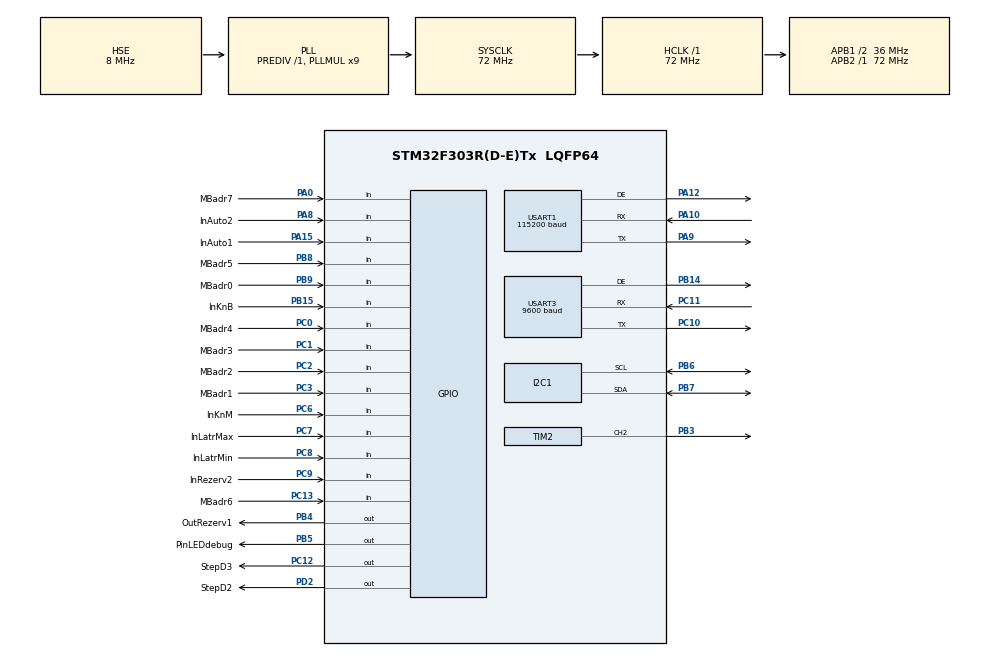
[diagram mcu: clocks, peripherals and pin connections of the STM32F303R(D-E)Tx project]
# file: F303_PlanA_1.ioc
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Mcu.Family=STM32F3
Mcu.Name=STM32F303R(D-E)Tx
Mcu.Package=LQFP64
NVIC.PriorityGroup=NVIC_PRIORITYGROUP_4
NVIC.TIM1_BRK_TIM15_IRQn=true\:0\:0\:false\:false\:true\:true\:true
NVIC.TIM1_TRG_COM_TIM17_IRQn=true\:0\:0\:false\:false\:true\:true\:true
NVIC.TIM1_UP_TIM16_IRQn=true\:0\:0\:false\:false\:true\:true\:true
NVIC.TIM2_IRQn=true\:0\:0\:false\:false\:true\:true\:true
NVIC.TIM3_IRQn=true\:0\:0\:false\:false\:true\:true\:true
NVIC.USART1_IRQn=true\:0\:0\:false\:false\:true\:true\:true
NVIC.USART3_IRQn=true\:0\:0\:false\:false\:true\:true\:true
PA0.GPIO_Label=MBadr7
PA0.GPIO_PuPd=GPIO_PULLUP
PA0.Signal=GPIO_Input
PA10.Mode=Asynchronous
PA10.Signal=USART1_RX
PA12.Mode=Hardware Flow Control (RS485)
PA12.Signal=USART1_DE
PA13.Mode=Serial_Wire
PA13.Signal=SYS_JTMS-SWDIO
PA14.Mode=Serial_Wire
PA14.Signal=SYS_JTCK-SWCLK
PA15.GPIO_Label=InAuto1
PA15.Signal=GPIO_Input
PA8.GPIO_Label=InAuto2
PA8.Signal=GPIO_Input
PA9.Mode=Asynchronous
PA9.Signal=USART1_TX
PB14.Mode=Hardware Flow Control (RS485)
PB14.Signal=USART3_DE
PB15.GPIO_Label=InKnB
PB15.Signal=GPIO_Input
PB3.GPIO_Speed=GPIO_SPEED_FREQ_HIGH
PB3.Signal=S_TIM2_CH2
PB4.GPIO_Label=OutRezerv1
PB4.Signal=GPIO_Output
PB5.GPIO_Label=PinLEDdebug
PB5.GPIO_ModeDefaultOutputPP=GPIO_MODE_OUTPUT_PP
PB5.Signal=GPIO_Output
PB6.GPIO_Pu=GPIO_PULLUP
PB6.Mode=I2C
PB6.Signal=I2C1_SCL
PB7.GPIO_Pu=GPIO_PULLUP
PB7.Mode=I2C
PB7.Signal=I2C1_SDA
PB8.GPIO_Label=MBadr5
PB8.GPIO_PuPd=GPIO_PULLUP
PB8.Signal=GPIO_Input
PB9.GPIO_Label=MBadr0
PB9.GPIO_PuPd=GPIO_PULLUP
PB9.Signal=GPIO_Input
PC0.GPIO_Label=MBadr4
PC0.GPIO_PuPd=GPIO_PULLUP
PC0.Signal=GPIO_Input
PC1.GPIO_Label=MBadr3
PC1.GPIO_PuPd=GPIO_PULLUP
PC1.Signal=GPIO_Input
PC10.Mode=Asynchronous
PC10.Signal=USART3_TX
PC11.Mode=Asynchronous
PC11.Signal=USART3_RX
PC12.GPIO_Label=StepD3
PC12.Signal=GPIO_Output
PC13.GPIO_Label=MBadr6
PC13.GPIO_PuPd=GPIO_PULLUP
PC13.Signal=GPIO_Input
PC2.GPIO_Label=MBadr2
PC2.GPIO_PuPd=GPIO_PULLUP
PC2.Signal=GPIO_Input
PC3.GPIO_Label=MBadr1
PC3.GPIO_PuPd=GPIO_PULLUP
PC3.Signal=GPIO_Input
PC6.GPIO_Label=InKnM
PC6.Signal=GPIO_Input
PC7.GPIO_Label=InLatrMax
PC7.Signal=GPIO_Input
PC8.GPIO_Label=InLatrMin
PC8.Signal=GPIO_Input
PC9.GPIO_Label=InRezerv2
PC9.Signal=GPIO_Input
PD2.GPIO_Label=StepD2
PD2.Signal=GPIO_Output
PF0-OSC_IN.Mode=HSE-External-Oscillator
PF0-OSC_IN.Signal=RCC_OSC_IN
PF1-OSC_OUT.Mode=HSE-External-Oscillator
PF1-OSC_OUT.Signal=RCC_OSC_OUT
ProjectManager.HeapSize=0x200
ProjectManager.StackSize=0x400
ProjectManager.TargetToolchain=STM32CubeIDE
RCC.ADC12PRES=RCC_ADC12PLLCLK_DIV16
RCC.ADC34PRES=RCC_ADC34PLLCLK_DIV16
RCC.AHBFreq_Value=72000000
RCC.APB1CLKDivider=RCC_HCLK_DIV2
RCC.APB1Freq_Value=36000000
RCC.APB1TimFreq_Value=72000000
RCC.APB2Freq_Value=72000000
RCC.APB2TimFreq_Value=72000000
RCC.CortexFreq_Value=72000000
RCC.HCLKFreq_Value=72000000
RCC.HSE_VALUE=8000000
RCC.HSI_VALUE=8000000
RCC.LSE_VALUE=32.77
RCC.PLLMUL=RCC_PLL_MUL9
RCC.PLLSourceVirtual=RCC_PLLSOURCE_HSE
RCC.SYSCLKFreq_VALUE=72000000
RCC.SYSCLKSourceVirtual=RCC_SYSCLKSOURCE_PLLCLK
RCC.USBFreq_Value=72000000
SH.S_TIM2_CH2.0=TIM2_CH2,PWM Generation2 CH2
TIM1.Period=53
TIM1.Prescaler=99
TIM2.AutoReloadPreload=TIM_AUTORELOAD_PRELOAD_ENABLE
TIM2.Channel-PWM\ Generation2\ CH2=TIM_CHANNEL_2
TIM2.OCPolarity_2=TIM_OCPOLARITY_LOW
TIM2.Period=169
TIM2.Prescaler=719
TIM2.Pulse-PWM\ Generation2\ CH2=79
TIM3.Period=999
TIM3.Prescaler=719
USART1.BaudRate=115200
USART1.VirtualMode-Asynchronous=VM_ASYNC
USART1.VirtualMode-Hardware\ Flow\ Control\ (RS485)=VM_ASYNC
USART3.BaudRate=9600
USART3.VirtualMode-Asynchronous=VM_ASYNC
USART3.VirtualMode-Hardware\ Flow\ Control\ (RS485)=VM_ASYNC
VP_TIM1_VS_ClockSourceINT.Mode=Internal
VP_TIM2_VS_ClockSourceINT.Mode=Internal
VP_TIM3_VS_ClockSourceINT.Mode=Internal
board=custom

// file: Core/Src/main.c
/* USER CODE BEGIN Header */
/**
  ******************************************************************************
  * @file           : main.c
  * @brief          : Main program body
  ******************************************************************************
  * @attention
  *
  * <h2><center>&copy; Copyright (c) 2021 STMicroelectronics.
  * All rights reserved.</center></h2>
  *
  * This software component is licensed by ST under BSD 3-Clause license,
  * the "License"; You may not use this file except in compliance with the
  * License. You may obtain a copy of the License at:
  *                        opensource.org/licenses/BSD-3-Clause
  *
  ******************************************************************************
  */
/* USER CODE END Header */
#include "main.h"

/* USER CODE BEGIN Includes */
#include "stdio.h"
#include "string.h"
#include "math.h"
#include "fastmath.h"
#include "MB_veribl_my.h"

/* USER CODE END Includes */

I2C_HandleTypeDef hi2c1;

TIM_HandleTypeDef htim1;
TIM_HandleTypeDef htim2;
TIM_HandleTypeDef htim3;

UART_HandleTypeDef huart1;
UART_HandleTypeDef huart3;

/* USER CODE BEGIN PV */
//********************************* МО�? ПЕРЕМЕННЫЕ *********************************
////////......................... для измерений .........................////////
volatile uint16_t adc_A[200]={0,};              //переменная для хранения данных с АЦП
volatile uint16_t adc_B[200]={0,};              //переменная для хранения данных с АЦП
volatile uint16_t adc_C[200]={0,};              //переменная для хранения данных с АЦП
uint32_t izm2period=147;						//кол-во измерений за период 50Гц
uint32_t dacOporn=90;							//опорное напряжение*2 (в у.е.) для ТТ

////////.................... МОДбус ...MB_veribl_my.h......////////

////////... МОДбус для китайского Ваттметра...MB_veribl_my.h...////////

//-------------------------- тестовая хрень --------------------------
uint8_t TESTmassiv[50]={0,};                    //вывод отладочной инфы в УАРТ
uint16_t flagTest1=0;
uint8_t flagTest2=0;
//-------------------------- прочее --------------------------
union {
  float    vtosh; //VTOSH    vtosh0.vtosh
  struct {
    uint8_t   byte1,
              byte2,
              byte3,
              byte4;
  };
} vtosh0;

union {
  float    zadan_v; //ZADAN_V    zadan_v0.zadan_v
  struct {
    uint8_t   byte1,
              byte2,
              byte3,
              byte4;
  };
} zadan_v0;

union {
  float    tekysheeU; //ZADAN_V    tekysheeNapr.tekysheeU
  struct {
    uint8_t   byte1,
              byte2,
              byte3,
              byte4;
  };
} tekysheeNapr;

union {
  float    min_v; //MIN_V    volt0.min_v
  struct {
    uint8_t   byte1,
              byte2,
              byte3,
              byte4;
  };
} volt0;

union {
  float    max_v; //MAX_V    volt1.max_v
  struct {
    uint8_t   byte1,
              byte2,
              byte3,
              byte4;
  };
} volt1;

uint16_t timUzapis=0;
uint16_t provSvyazCount=0,
		 provSvyazCount2=0;
float	zadanMin=10.0,
		provSvyaz=0.0,
		zadan_vZash=0.0,
		zadan_v001p=0.0,
		zadan_v001m=0.0,
		zadan_v005p=0.0,
		zadan_v005m=0.0;
_Bool errGPM=0;

/* USER CODE END PV */

void SystemClock_Config(void);
static void MX_GPIO_Init(void);
static void MX_USART1_UART_Init(void);
static void MX_TIM1_Init(void);
static void MX_USART3_UART_Init(void);
static void MX_I2C1_Init(void);
static void MX_TIM2_Init(void);
static void MX_TIM3_Init(void);
/* USER CODE BEGIN PFP */

unsigned int Crc16Table[256] = {
/*
  Name  : CRC-16
  Poly  : 0x8005    x^16 + x^15 + x^2 + 1
  Init  : 0xFFFF
  Revert: true
  XorOut: 0x0000
  Check : 0x4B37 ("123456789")
  MaxLen: 4095 байт (32767 бит) - обнаружение одинарных, двойных, тройных и всех нечетных ошибок
*/
    0x0000, 0xC0C1, 0xC181, 0x0140, 0xC301, 0x03C0, 0x0280, 0xC241,
    0xC601, 0x06C0, 0x0780, 0xC741, 0x0500, 0xC5C1, 0xC481, 0x0440,
    0xCC01, 0x0CC0, 0x0D80, 0xCD41, 0x0F00, 0xCFC1, 0xCE81, 0x0E40,
    0x0A00, 0xCAC1, 0xCB81, 0x0B40, 0xC901, 0x09C0, 0x0880, 0xC841,
    0xD801, 0x18C0, 0x1980, 0xD941, 0x1B00, 0xDBC1, 0xDA81, 0x1A40,
    0x1E00, 0xDEC1, 0xDF81, 0x1F40, 0xDD01, 0x1DC0, 0x1C80, 0xDC41,
    0x1400, 0xD4C1, 0xD581, 0x1540, 0xD701, 0x17C0, 0x1680, 0xD641,
    0xD201, 0x12C0, 0x1380, 0xD341, 0x1100, 0xD1C1, 0xD081, 0x1040,
    0xF001, 0x30C0, 0x3180, 0xF141, 0x3300, 0xF3C1, 0xF281, 0x3240,
    0x3600, 0xF6C1, 0xF781, 0x3740, 0xF501, 0x35C0, 0x3480, 0xF441,
    0x3C00, 0xFCC1, 0xFD81, 0x3D40, 0xFF01, 0x3FC0, 0x3E80, 0xFE41,
    0xFA01, 0x3AC0, 0x3B80, 0xFB41, 0x3900, 0xF9C1, 0xF881, 0x3840,
    0x2800, 0xE8C1, 0xE981, 0x2940, 0xEB01, 0x2BC0, 0x2A80, 0xEA41,
    0xEE01, 0x2EC0, 0x2F80, 0xEF41, 0x2D00, 0xEDC1, 0xEC81, 0x2C40,
    0xE401, 0x24C0, 0x2580, 0xE541, 0x2700, 0xE7C1, 0xE681, 0x2640,
    0x2200, 0xE2C1, 0xE381, 0x2340, 0xE101, 0x21C0, 0x2080, 0xE041,
    0xA001, 0x60C0, 0x6180, 0xA141, 0x6300, 0xA3C1, 0xA281, 0x6240,
    0x6600, 0xA6C1, 0xA781, 0x6740, 0xA501, 0x65C0, 0x6480, 0xA441,
    0x6C00, 0xACC1, 0xAD81, 0x6D40, 0xAF01, 0x6FC0, 0x6E80, 0xAE41,
    0xAA01, 0x6AC0, 0x6B80, 0xAB41, 0x6900, 0xA9C1, 0xA881, 0x6840,
    0x7800, 0xB8C1, 0xB981, 0x7940, 0xBB01, 0x7BC0, 0x7A80, 0xBA41,
    0xBE01, 0x7EC0, 0x7F80, 0xBF41, 0x7D00, 0xBDC1, 0xBC81, 0x7C40,
    0xB401, 0x74C0, 0x7580, 0xB541, 0x7700, 0xB7C1, 0xB681, 0x7640,
    0x7200, 0xB2C1, 0xB381, 0x7340, 0xB101, 0x71C0, 0x7080, 0xB041,
    0x5000, 0x90C1, 0x9181, 0x5140, 0x9301, 0x53C0, 0x5280, 0x9241,
    0x9601, 0x56C0, 0x5780, 0x9741, 0x5500, 0x95C1, 0x9481, 0x5440,
    0x9C01, 0x5CC0, 0x5D80, 0x9D41, 0x5F00, 0x9FC1, 0x9E81, 0x5E40,
    0x5A00, 0x9AC1, 0x9B81, 0x5B40, 0x9901, 0x59C0, 0x5880, 0x9841,
    0x8801, 0x48C0, 0x4980, 0x8941, 0x4B00, 0x8BC1, 0x8A81, 0x4A40,
    0x4E00, 0x8EC1, 0x8F81, 0x4F40, 0x8D01, 0x4DC0, 0x4C80, 0x8C41,
    0x4400, 0x84C1, 0x8581, 0x4540, 0x8701, 0x47C0, 0x4680, 0x8641,
    0x8201, 0x42C0, 0x4380, 0x8341, 0x4100, 0x81C1, 0x8081, 0x4040};

unsigned int Crc16(unsigned char *pcBlock, unsigned int len){
    unsigned int crc = 0xFFFF;
    while (len--) crc = (crc >> 8) ^ Crc16Table[(crc & 0xFF) ^ *pcBlock++];
    return crc;
    }

void IDmyMB (void){
	mb_data[MY_ID]=0;

	mb_data[MY_ID]=(~( 0xff00 |
//									7							6						5							4
						((GPIOB->IDR&(1<<8))>>1)|((GPIOB->IDR&(1<<9))>>3)|((GPIOC->IDR&(1<<13))>>8)|((GPIOC->IDR&(1<<0))<<4)|
//									3							2						1							0
						((GPIOC->IDR&(1<<1))<<2)|((GPIOC->IDR&(1<<2))<<0)|((GPIOC->IDR&(1<<3))>>2)|((GPIOA->IDR&(1<<0))<<0) ) );
}

/* USER CODE END PFP */

/* USER CODE BEGIN 0 */

//................. Таймерs
void HAL_TIM_PeriodElapsedCallback(TIM_HandleTypeDef *htim){

	if(htim->Instance==TIM1){		// каждые 0,075мс
		MB_counT35++;  //до ~23 (1,75)
		MB3_counT35++;  //до ~23 (1,75)
		MB3_count_Tx++; //счётчик периода запроса
		provSvyazCount2++;
	} //end каждые 0,075мс

	if(htim->Instance==TIM3){		// каждые 10 мс
		timUzapis++;					// время измерения напряжения
		//HAL_GPIO_TogglePin(GPIOB, OutRezerv1_Pin);	// мигание кнопок М и Б
		//if (flagTest1++>=2000) {flagTest1=0;}		//времянка
		//////////////////  СиГНАЛиЗАТОР  /////////////////////////////////////
		#define SIGNAL1 14
		#define SIGNAL2 100
		if (signal_0) {			//сигнализировать "Отмена" или "Отключить"
			if      ( (out_Sign_count1>0) && (out_Sign_count1<=SIGNAL1) ) {GPIOB->ODR|=(1<<4);}		// л1
			else if ( (out_Sign_count1>SIGNAL1) && (out_Sign_count1<=SIGNAL2) ) {GPIOB->ODR&=~(1<<4);}	// л0
			else if ( (out_Sign_count1>SIGNAL2) && (out_Sign_count1<=(SIGNAL1+SIGNAL2)) ) {GPIOB->ODR|=(1<<4);}	// л1
			else if (out_Sign_count1>(SIGNAL1+SIGNAL2)) {GPIOB->ODR&=~(1<<4); signal_0=0;}				// л0
			out_Sign_count1++;
		}
		//else {out_Sign_count1=0;}
		else if (signal_1) {			//сигнализировать "Принять" или "Включить"
			if      ( (out_Sign_count1>0) && (out_Sign_count1<=SIGNAL1) ) {GPIOB->ODR|=(1<<4);}		// л1
			else if ( (out_Sign_count1>SIGNAL1) && (out_Sign_count1<=SIGNAL2) ) {GPIOB->ODR&=~(1<<4);}	// л0
			else if ( (out_Sign_count1>SIGNAL2) && (out_Sign_count1<=(2*SIGNAL2)) ) {GPIOB->ODR|=(1<<4);}	// л1
			else if (out_Sign_count1>(2*SIGNAL2)) {GPIOB->ODR&=~(1<<4); signal_1=0;}				// л0
			out_Sign_count1++;
		}
		else {out_Sign_count1=0;}

		//////////////////  ФиЛЬТР  длительность ~5 мкс /////////////////////////////////////
		//GPIOB->ODR |=(1<<5);
		if ( (!(GPIOA->IDR & (1<<15)))^(mb_data[IN_IST] & (1<<IN_AVTO2)) )	//Режим Авто-2
			{In_Auto1_count++;}
		else {In_Auto1_count=0;}
		if ( (!(GPIOA->IDR & (1<<8)))^(mb_data[IN_IST] & (1<<IN_AVTO1)) )	//Режим Авто-1
			{In_Auto2_count++;}
		else {In_Auto2_count=0;}
		if ( (!(GPIOC->IDR & (1<<9)))^(mb_data[IN_IST] & (1<<IN_AUTO_NOM)) )
			{In_Rezerv_count++;}
		else {In_Rezerv_count=0;}
		if ( (GPIOC->IDR & (1<<8)) ^ (mb_data[IN_IST] & (1<<IN_ATR_MIN)) )	//Конечник Мин
			{In_ATRmin_count++;}
		else {In_ATRmin_count=0;}
		if ( (GPIOC->IDR & (1<<7)) ^ (mb_data[IN_IST] & (1<<IN_ATR_MAX)) )	//Конечник Макс
			{In_ATRmax_count++;}
		else {In_ATRmax_count=0;}
		if ( (!(GPIOC->IDR & (1<<6)))^(mb_data[IN_IST] & (1<<IN_KN_MEN)) )	//Кн Меньше
			{In_KnMen_count++;}
		else {In_KnMen_count=0;}
		if ( (!(GPIOB->IDR & (1<<15)))^(mb_data[IN_IST] & (1<<IN_KN_BOL)) )	//Кн Больше
			{In_KnBol_count++;}
		else {In_KnBol_count=0;}

		////////////////// Прошедшие ФиЛЬТР /////////////////////////////////////
		if (In_Auto1_count>=In_count){   In_Auto1_count=0;
			if (GPIOA->IDR & (1<<15))	{mb_data[IN_IST] &=~ (1<<IN_AVTO2);}
			else						{mb_data[IN_IST] |= (1<<IN_AVTO2);}
		}
		if (In_Auto2_count>=In_count){   In_Auto2_count=0;
			if (GPIOA->IDR & (1<<8))	{mb_data[IN_IST] &=~ (1<<IN_AVTO1);}
			else						{mb_data[IN_IST] |= (1<<IN_AVTO1);}
		}
		if (In_Rezerv_count>=In_count){   In_Rezerv_count=0;
			if (GPIOC->IDR & (1<<9))	{mb_data[IN_IST] &=~ (1<<IN_AUTO_NOM);}
			else						{mb_data[IN_IST] |= (1<<IN_AUTO_NOM);}
		}
		if (In_ATRmin_count>=In_count){   In_ATRmin_count=0;
			if (GPIOC->IDR & (1<<8))	{mb_data[IN_IST] |= (1<<IN_ATR_MIN);}
			else						{mb_data[IN_IST] &=~ (1<<IN_ATR_MIN);}
		}
		if (In_ATRmax_count>=In_count){   In_ATRmax_count=0;
			if (GPIOC->IDR & (1<<7))	{mb_data[IN_IST] |= (1<<IN_ATR_MAX);}
			else						{mb_data[IN_IST] &=~ (1<<IN_ATR_MAX);}
		}
		if (In_KnMen_count>=In_count){   In_KnMen_count=0;
			if (GPIOC->IDR & (1<<6))	{mb_data[IN_IST] &=~ (1<<IN_KN_MEN);}
			else						{mb_data[IN_IST] |= (1<<IN_KN_MEN);}
		}
		if (In_KnBol_count>=In_count){   In_KnBol_count=0;
			if (GPIOB->IDR & (1<<15))	{mb_data[IN_IST] &=~ (1<<IN_KN_BOL);}
			else						{mb_data[IN_IST] |= (1<<IN_KN_BOL);}
		}

		//////////////////////////////////// СПЕЦ-НАЖАТиЯ /////////////////////////////////////
		if ( (mb_data[IN_IST] & (1<<IN_KN_MEN)) && (mb_data[IN_IST] & (1<<IN_KN_BOL)) )	// М+Б
			{In_KnMpB_count++;}
		else {In_KnMpB_count=0;}
		if (In_KnMpB_count>=In_count2) {mb_data[IN_IST] |= (1<<IN_KN_MPB);
			In_KnMpB_count=0;
			signal_1=1;
		}

		if ( (mb_data[IN_IST] & (1<<IN_KN_MEN)) && !(mb_data[IN_IST] & (1<<IN_KN_BOL)) ) {In_KnMMMen_count++;}	// М (долгое)
		else {In_KnMMMen_count=0;}
		if (In_KnMMMen_count>=In_count2) {mb_data[IN_IST] |= (1<<IN_KN_MMMEN);In_KnMMMen_count=0;}

		if ( !(mb_data[IN_IST] & (1<<IN_KN_MEN)) && (mb_data[IN_IST] & (1<<IN_KN_BOL)) ) {In_KnBBBol_count++;}	// Б (долгое)
		else {In_KnBBBol_count=0;}
		if (In_KnBBBol_count>=In_count2) {mb_data[IN_IST] |= (1<<IN_KN_BBBOL);In_KnBBBol_count=0;}

		//GPIOB->ODR &=~ (1<<5); GPIOB->ODR |= (1<<5);
	}//end каждые 10 мс
}

//................. Таймер на ШиМ
void HAL_TIM_PWM_PulseFinishedCallback(TIM_HandleTypeDef *htim){
	if(htim->Instance==TIM2){
		if (mb_data[OUT_IST]&(1<<OUT_ED_NAPR))	{mb_data[ATR_POL_OTN]++; atr_pol_abs++;}
		else 									{mb_data[ATR_POL_OTN]--; atr_pol_abs--;}
		mb_data[ATR_POL_ABS] = atr_pol_abs;
		//if (mb_data[IN_IST]&(1<<IN_ATR_MIN))		{mb_data[ATR_POL_ABS]=0;}
		//Delitel_count++;
		//HAL_GPIO_TogglePin(GPIOB, PinLEDdebug_Pin);
	}
}

/*
void HAL_ADC_ConvCpltCallback(ADC_HandleTypeDef* hadc1){
	//HAL_GPIO_TogglePin(GPIOB, PinLEDdebug_Pin);
	if(hadc1->Instance == ADC1) {;
	 }
}
*/

void HAL_UART_TxCpltCallback(UART_HandleTypeDef *huart){
	if(huart==&huart1){;}
	if(huart==&huart3){;}
}

void HAL_UART_RxCpltCallback(UART_HandleTypeDef *huart) {
	if(huart==&huart1){
		HAL_UART_Receive_IT(&huart1, (uint8_t*)MB_preBUFF, rxPac); //запуск следующего приёма
		MB_BUFF[MB_buffCount++]=MB_preBUFF[0];   //сохраняем полученый байт в буфер
		MB_counT35=0;  //до ~23..24 (1,75)
		MB_MyPac_OK=0;
	}
	if(huart==&huart3){
		//HAL_UART_Receive_IT(&huart3, (uint8_t*)MB3_preBUFF, 25); //запуск следующего приёма
		//MB3_BUFF[MB3_buffCount++]=MB3_preBUFF[0];   //сохраняем полученый байт в буфер
		//mb_data[21]=( (MB3_preBUFF[3]<<8)|(MB3_preBUFF[4]) );
		//MB3_counT35=0;  //до ~23..24 (1,75)
		MB3_MyPac_OK=0;
	}
}

/* USER CODE END 0 */

int main(void)
{

  /* MCU Configuration--------------------------------------------------------*/

  /* Reset of all peripherals, Initializes the Flash interface and the Systick. */
  HAL_Init();

  /* Configure the system clock */
  SystemClock_Config();

  /* Initialize all configured peripherals */
  MX_GPIO_Init();
  MX_USART1_UART_Init();
  MX_TIM1_Init();
  MX_USART3_UART_Init();
  MX_I2C1_Init();
  MX_TIM2_Init();
  MX_TIM3_Init();
  /* USER CODE BEGIN 2 */
//***************************************************** Мой СЕТУП! СТАРТ *******
  //HAL_OPAMP_SelfCalibrate(&hopamp1); HAL_Delay(30);
  //HAL_OPAMP_SelfCalibrate(&hopamp2); HAL_Delay(30);
  //HAL_OPAMP_SelfCalibrate(&hopamp3); HAL_Delay(30);
  //HAL_OPAMP_SelfCalibrate(&hopamp4); HAL_Delay(30);
  //HAL_ADCEx_Calibration_Start(&hadc1,ADC_SINGLE_ENDED); HAL_Delay(30);
  //HAL_ADCEx_Calibration_Start(&hadc2,ADC_SINGLE_ENDED); HAL_Delay(30);
  //HAL_ADCEx_Calibration_Start(&hadc3,ADC_SINGLE_ENDED); HAL_Delay(30);
//............ Запуск ЦАП (на схеме стоит делитель 1/2 !)
  //HAL_DAC_Start(&hdac1, DAC_CHANNEL_1); HAL_Delay(100);
  //HAL_DAC_SetValue(&hdac1, DAC_CHANNEL_1, DAC_ALIGN_12B_R, dacOporn); HAL_Delay(100);

  //HAL_OPAMP_Start(&hopamp1);
  //HAL_OPAMP_Start(&hopamp2);
  //HAL_OPAMP_Start(&hopamp3);
  //HAL_OPAMP_Start(&hopamp4); HAL_Delay(100);
//............ Запуск преобразования с передачей по DMA
  //HAL_ADC_Start_DMA(&hadc1, (uint32_t*)&adc_A, izm2period);
  //HAL_ADC_Start_DMA(&hadc2, (uint32_t*)&adc_B, izm2period);
  //HAL_ADC_Start_DMA(&hadc3, (uint32_t*)&adc_C, izm2period);

  //............ Запуск таймера
  HAL_TIM_PWM_Start_IT(&htim2, TIM_CHANNEL_2);
  HAL_TIM_Base_Start_IT(&htim1);
  HAL_TIM_Base_Start_IT(&htim3);
  //HAL_TIM_Base_Start_IT(&htim2);

  //HAL_TIM_OC_Start_IT(&htim17, TIM_CHANNEL_1);
  //HAL_TIM_Base_Start_IT(&htim17);

//***************************************************** Мой СЕТУП! СТОП *******
  /* USER CODE END 2 */

  /* Infinite loop */
  /* USER CODE BEGIN WHILE */
/////////////////////// Запускаем ожидание приёма по УАРТ
  HAL_UART_Receive_IT(&huart1, (uint8_t*)MB_preBUFF, rxPac);
  HAL_UART_Receive_IT(&huart3, (uint8_t*)MB3_preBUFF, rx3Pac);

//............ Уставки по умолчанию ...MB_veribl_my.h...
  mb_data[0]=0x11;  //времяночка
  mb_data[21]=21; mb_data[22]=22; mb_data[23]=23;
  rxPac=1;
  mb_data[55]=719;
  count_stepHome=0;
  mb_data[ATR_FSTP_HD]=8150; //шагов от 0 до 450 В
HAL_Delay(1000);
IDmyMB ();  //считывание ID для MB со свичей
/*************************************************************************/
/***************************** П О Г Н А Л и *****************************/
/*************************************************************************/
  while (1){

//********************** Применение ПАКЕТА **********************//
	//if (mb_data[20]&(1<<0)) {HAL_GPIO_WritePin(GPIOB, PinLEDdebug_Pin, GPIO_PIN_SET);}
	//                   else {HAL_GPIO_WritePin(GPIOB, PinLEDdebug_Pin, GPIO_PIN_RESET);}
	//htim2.Instance->PSC = mb_data[55]; //
	//if (flagTest1+169<=2000)
		//htim2.Instance->ARR = (169+flagTest1);
		//htim2.Instance->ARR

//********************** Мигание Б и М **********************//
	//if ( (Delitel_count>=10)&(GPIOB->ODR&(1<<3)) )      {GPIOB->ODR|=(1<<4);}
	//else if( (Delitel_count>=10)&!(GPIOB->ODR&(1<<3)) ) {Delitel_count=0; GPIOB->ODR&=~(1<<4);}

//********************** АВТО-1 и АВТО-2 **********************//
//*************************************************************//
uint16_t viderjka1=300;
	  // Авто-1. Работа АТР по уставкам от ПО с отслеживанием просадки U
	if ( (mb_data[IN_IST]&(1<<IN_AVTO1)) && !(mb_data[IN_IST]&(1<<IN_AVTO2)) ){
		//GPIOB->ODR|=(1<<5);
		//********************** Функции долгих нажатий (долгое М или Б) **********************//
		if (mb_data[IN_IST] & (1<<IN_KN_MMMEN)) {mb_data[IN_IST]&=~(1<<IN_KN_MMMEN);}	//не назначено
		if (mb_data[IN_IST] & (1<<IN_KN_BBBOL)) {mb_data[IN_IST]&=~(1<<IN_KN_BBBOL);}	//не назначено
		//********************** Нахождение МиН и МАКС (долгое М+Б) **********************//
		if ((mb_data[IN_IST]&(1<<IN_AUTO_HOM)) || (mb_data[IN_IST]&(1<<IN_KN_MPB))) {
			if (count_stepHome==0) {
				if (!(mb_data[IN_IST]&(1<<IN_ATR_MIN)))	{mb_data[IN_IST]|=(1<<IN_AUTO_MEN);
														 mb_data[IN_IST]&=~(1<<IN_AUTO_BOL);}
				else									{mb_data[IN_IST]&=~(1<<IN_AUTO_MEN);
														 mb_data[IN_IST]&=~(1<<IN_AUTO_BOL);
														 mb_data[ATR_POL_OTN]=0; timUzapis=0;
														 count_stepHome=1;} //Положение относительно (0В)
			}
			if ( (count_stepHome==1)&&(timUzapis<=viderjka1) ) { //сохранение Umin viderjka1-3секунды для устаканивания значниея U
				mb_data[ATR_MIN_V_H]=mb_data[GPM_V_H]; mb_data[ATR_MIN_V_L]=mb_data[GPM_V_L];}
			if ( (count_stepHome==1)&&(timUzapis>viderjka1) ) {
				count_stepHome=2; timUzapis=0;}
			if (count_stepHome==2) {
				if (!(mb_data[IN_IST]&(1<<IN_ATR_MAX)))	{mb_data[IN_IST]&=~(1<<IN_AUTO_MEN);
														 mb_data[IN_IST]|=(1<<IN_AUTO_BOL);}
				else 									{mb_data[IN_IST]&=~(1<<IN_AUTO_MEN);
														 mb_data[IN_IST]&=~(1<<IN_AUTO_BOL);
														 mb_data[ATR_FSTP]=mb_data[ATR_POL_OTN]; //Полное кол-во шагов (при 450В)
														 timUzapis=0; count_stepHome=3;
				}
			}
			if ( (count_stepHome==3)&&(timUzapis<=viderjka1) ) { //сохранение Umin
				mb_data[ATR_MAX_V_H]=mb_data[GPM_V_H]; mb_data[ATR_MAX_V_L]=mb_data[GPM_V_L];}
			if ( (count_stepHome==3)&&(timUzapis>viderjka1) ) {
				count_stepHome=4; timUzapis=0;}
			if (count_stepHome==4) {mb_data[IN_IST]&=~(1<<IN_AUTO_HOM); mb_data[IN_IST]&=~(1<<IN_KN_MPB);}
		}//end Нахождение МиН и МАКС

		//********************** ДВиЖЕНиЯ по уставкам ШАГАМ **********************//
		/*if ( (mb_data[ATR_FSTP]) && (mb_data[ATR_ZADAN_SH]) &&						//если определены МиН/МАКС и есть уставка
				((mb_data[IN_IST]&(1<<IN_AUTO_HOM))||(mb_data[OUT_IST]&(1<<OUT_SLEJEN))) )	//если ищем Дом или Следим за U
		{
			if (mb_data[ATR_ZADAN_SH] > (mb_data[ATR_POL_OTN])){		//если задание БОЛЬШЕ текущго состояния
				mb_data[IN_IST] |= (1<<IN_AUTO_BOL);
				mb_data[IN_IST] &=~ (1<<IN_AUTO_MEN);
			}
			else if (mb_data[ATR_ZADAN_SH] < (mb_data[ATR_POL_OTN])) {	//если задание МЕНЬШЕ текущго состояния
				mb_data[IN_IST] &=~ (1<<IN_AUTO_BOL);
				mb_data[IN_IST] |= (1<<IN_AUTO_MEN);
			}
			else {
				mb_data[IN_IST] &=~ (1<<IN_AUTO_BOL);					//иначе ОСТАНОВ
				mb_data[IN_IST] &=~ (1<<IN_AUTO_MEN);
			}
		}//end ДВиЖЕНиЯ по уставкам
		*/
		//********************** ДВиЖЕНиЯ по уставкам НАПРЯЖЕНиЮ  **********************//
		//if ( tekysheeNapr.tekysheeU && zadan_v0.zadan_v &&						//если определены МиН/МАКС и есть уставка
		if ( !errGPM &&  //(mb_data[IN_IST]&(1<<IN_AUTO_NOM))						//если ищем Дом
				( (mb_data[OUT_IST]&(1<<OUT_SLEJEN)) || (mb_data[KOM_IST]&(1<<KOM_SLEJEN)) ) && //или Следим за U
				( (tekysheeNapr.tekysheeU > zadanMin) && (zadan_v0.zadan_v > zadanMin) ) )	// и если Уставка не ниже минимальной!
		{
			if (tekysheeNapr.tekysheeU < zadan_v005m) {		//если текущее U МЕНЬШЕ заданного
				mb_data[IN_IST] |= (1<<IN_AUTO_BOL);			//zadan_v001p
				mb_data[IN_IST] &=~ (1<<IN_AUTO_MEN);
				htim2.Instance->ARR = 169;//настройки скорости
			}
			else if ( (tekysheeNapr.tekysheeU >= zadan_v005m) &&
					  (tekysheeNapr.tekysheeU <= zadan_v001m) ) {		//если текущее U МЕНЬШЕ заданного
				mb_data[IN_IST] |= (1<<IN_AUTO_BOL);			//zadan_v001p
				mb_data[IN_IST] &=~ (1<<IN_AUTO_MEN);
				htim2.Instance->ARR = 1699;//настройки скорости
			}
			else if (tekysheeNapr.tekysheeU > zadan_v005p) {	//если текущее U больше заданного
				mb_data[IN_IST] &=~ (1<<IN_AUTO_BOL);
				mb_data[IN_IST] |= (1<<IN_AUTO_MEN);
				htim2.Instance->ARR = 169;//настройки скорости
			}
			else if ( (tekysheeNapr.tekysheeU <= zadan_v005p) &&
					  (tekysheeNapr.tekysheeU >= zadan_v001p) ) {	//если текущее U больше заданного
				mb_data[IN_IST] &=~ (1<<IN_AUTO_BOL);
				mb_data[IN_IST] |= (1<<IN_AUTO_MEN);
				htim2.Instance->ARR = 1699;//настройки скорости
			}
			else {
				mb_data[IN_IST] &=~ (1<<IN_AUTO_BOL);					//иначе ОСТАНОВ
				mb_data[IN_IST] &=~ (1<<IN_AUTO_MEN);
			}
		}//end ДВиЖЕНиЯ по уставкам НАПРЯЖЕНиЮ
		else {
			mb_data[IN_IST] &=~ (1<<IN_AUTO_BOL);					//иначе ОСТАНОВ
			mb_data[IN_IST] &=~ (1<<IN_AUTO_MEN);
		}

		//********************** само ДВиЖЕНиЕ **********************//
		//движение против частовой в МиН
		if ( !(mb_data[IN_IST]&(1<<IN_ATR_MIN)) &&						//если АТР не на МиН
				//((mb_data[ATR_FSTP]==0) ||										//едем если не знаем общее количество шагов или
				//((mb_data[ATR_FSTP])&&(mb_data[ATR_POL_OTN]>0))) &&				//если знаем, но не доехали до 0
				( ((mb_data[IN_IST]&(1<<IN_STAT_START))&&!(mb_data[IN_IST]&(1<<IN_STAT_NAPR))) ||//едем по командам или
				(mb_data[IN_IST]&(1<<IN_AUTO_MEN)) ) )											//едем по Авто Меньше
			{
			mb_data[OUT_IST]&=~(1<<OUT_ED_NAPR);												//против Часовой
			mb_data[OUT_IST]&=~(1<<OUT_ED_ENAB);												//держим ЭД
			bitEdemNet=1;																		//старт ШиМ
			}
		//движение по частовой в МАКС
		else if ( !(mb_data[IN_IST]&(1<<IN_ATR_MAX)) &&							//если АТР не на МАКС
				//((mb_data[ATR_FSTP]==0) || 										//едем если ещё не сохранили МАКС или
				//(mb_data[ATR_POL_OTN]<=mb_data[ATR_FSTP]) ) &&					//не доехали до него
				( ((mb_data[IN_IST]&(1<<IN_STAT_START))&&(mb_data[IN_IST]&(1<<IN_STAT_NAPR))) ||//едем по командам или
				(mb_data[IN_IST]&(1<<IN_AUTO_BOL)) ) )											//едем по по Авто Больше
			{
			mb_data[OUT_IST]|=(1<<OUT_ED_NAPR);													//по Часовой
			mb_data[OUT_IST]&=~(1<<OUT_ED_ENAB);												//держим ЭД
			bitEdemNet=1;																		//старт Ш�?М
			}
		else {bitEdemNet=0;}
	}//end Авто-1

	// Авто-2. Работа от кнопок с отслеживанием просадки U
	// долгое М+Б=Х ; долгое М=Х ; долгое Б=Х
	// можно сохранять текущую уставку через 5 секунд, после уставки кнопками
	else if ( !(mb_data[IN_IST]&(1<<IN_AVTO1)) && (mb_data[IN_IST]&(1<<IN_AVTO2)) ){
		//********************** Функции долгих нажатий (долгое М или Б) **********************//
		if (mb_data[IN_IST] & (1<<IN_KN_MMMEN)) {mb_data[IN_IST]&=~(1<<IN_KN_MMMEN);}	//не назначено
		if (mb_data[IN_IST] & (1<<IN_KN_BBBOL)) {mb_data[IN_IST]&=~(1<<IN_KN_BBBOL);}	//не назначено
		mb_data[IN_IST]&=~(1<<IN_KN_MPB);

		//********************** движения ЭД с кнопок **********************//
		//движение против частовой в МиН
		if ( !(mb_data[IN_IST]&(1<<IN_ATR_MIN))&&								//если АТР не на МиН
				((mb_data[ATR_FSTP]==0) ||										//едем если не знаем общее количество шагов или
				((mb_data[ATR_FSTP])&&(mb_data[ATR_POL_OTN]>0))) &&				//    если знаем, но не доехали до 0
				(mb_data[IN_IST]&(1<<IN_KN_MEN)) )								//едем по Кн М
			{
			mb_data[OUT_IST]&=~(1<<OUT_ED_NAPR);								//против Часовой
			mb_data[OUT_IST]&=~(1<<OUT_ED_ENAB);								//держим ЭД
			bitEdemNet=1;														//старт ШиМ
			}
		//движение по частовой в МАКС
		else if ( !(mb_data[IN_IST]&(1<<IN_ATR_MAX)) &&							//если АТР не на МАКС
				((mb_data[ATR_FSTP]==0) ||										//едем если ещё не сохранили МАКС или
				(mb_data[ATR_POL_OTN]<=mb_data[ATR_FSTP]) ) &&					//     не доехали до него
				(mb_data[IN_IST]&(1<<IN_KN_BOL)) )								//едем по Кн Б
			{
			mb_data[OUT_IST]|=(1<<OUT_ED_NAPR);									//по Часовой
			mb_data[OUT_IST]&=~(1<<OUT_ED_ENAB);								//держим ЭД
			bitEdemNet=1;														//старт ШиМ
			}
		else {bitEdemNet=0;}
	} // end Авто-2

	// Ручное управление. Отпускание ЭД! и вращение АТР за ручку
	// долгое М+Б=>0< ; долгое М=>220В< ; долгое Б=ВКЛ/ВЫКЛ слежения за напряжением
	else if ( !(mb_data[IN_IST]&(1<<IN_AVTO1)) && !(mb_data[IN_IST]&(1<<IN_AVTO2)) ){
		bitEdemNet=0;
		mb_data[OUT_IST] |= (1<<OUT_ED_ENAB);
		mb_data[IN_IST]&=~(1<<IN_AUTO_MEN);
		mb_data[IN_IST]&=~(1<<IN_AUTO_BOL);
		//********************** Функции долгих нажатий (долгое М или Б) **********************//
		if (mb_data[IN_IST]&(1<<IN_KN_MMMEN)) {		//Руками установили на >220В< и расчитали все другие переменные
			//mb_data[ATR_FSTP]=mb_data[ATR_FSTP_HD]; // так НЕНАДО!!!!!
			//mb_data[ATR_POL_OTN]=(22*mb_data[ATR_FSTP])/45;
			//atr_ZADAN_V=220.0;
			//mb_data[ATR_ZADAN_SH]=mb_data[ATR_POL_OTN];
			mb_data[IN_IST]&=~(1<<IN_KN_MMMEN);
			signal_1=1;
		}
		if (mb_data[IN_IST]&(1<<IN_KN_BBBOL)) {		//ВКЛ/ОТКЛ слежения за U и отработка
			mb_data[OUT_IST]^=(1<<OUT_SLEJEN);
			if (mb_data[OUT_IST]&(1<<OUT_SLEJEN)) {signal_1=1;} else {signal_0=1;}
			mb_data[IN_IST]&=~(1<<IN_KN_BBBOL);
		}
		if (mb_data[IN_IST]&(1<<IN_KN_MPB)) {	//М+Б в ручном режиме = обнуление уставок и М�?Н МАКС
			mb_data[ATR_FSTP]=0;				//МАКС=0
			mb_data[ATR_POL_OTN]=0;				//относительное положе=0
			mb_data[ATR_ZADAN_SH]=0;			//уставка по шагам=0
			count_stepHome=0;					//сброс функции "Домой"
			mb_data[IN_IST]&=~(1<<IN_KN_MPB);	//сброс М+Б
		}
	}
	// Аварийная комбинация (залип переключатель) НО! это комбинация может возникнуть при быстром переключении!
	else {GPIOC->ODR |= (1<<12); bitEdemNet=0;} //отпустить ЭД, отключить Ш�?М.

//обнуление текущей позиции по IN_ATR_MIN и запись максимума по IN_ATR_MAX
		//if (mb_data[IN_IST]&(1<<IN_ATR_MIN)) {mb_data[ATR_POL_OTN]=0;}
		//if (mb_data[IN_IST]&(1<<IN_ATR_MAX)) {mb_data[ATR_FSTP]=mb_data[ATR_POL_OTN];}

////////////////////////////////////////////////////////////////////
//********************** Применение выходов **********************//
////////////////////////////////////////////////////////////////////
	if (mb_data[OUT_IST]&(1<<OUT_ED_NAPR))	{GPIOD->ODR |= (1<<2);}		// ЭД по частовой
	else									{GPIOD->ODR &=~ (1<<2);}	// ЭД против частовой
	if (mb_data[OUT_IST]&(1<<OUT_ED_ENAB))	{GPIOC->ODR |= (1<<12);}	// ЭД отпущен
	else									{GPIOC->ODR &=~ (1<<12);}	// ЭД держим
	if (bitEdemNet) {HAL_TIM_PWM_Start_IT(&htim2, TIM_CHANNEL_2);}		// ЭД едет
	else {HAL_TIM_PWM_Stop_IT(&htim2, TIM_CHANNEL_2);}					// ЭД стоит

//********************** Проверка связи **********************//
	//if (provSvyazCount>=5){
	//	if (tekysheeNapr.tekysheeU==provSvyaz) {errGPM=1;}//provSvyazCount
	//	else {errGPM=0;}
	//	provSvyaz = tekysheeNapr.tekysheeU;
	//	provSvyazCount=0;
	//errGPM=0;
	//}

	//********************** >Т35 **********************//
	if ( !MB_MyPac_OK && (MB_counT35>=MB_dT35) ) {
		// СЮДА ПРОПИСАЛЬ ЗАЩИТУ ОТ ОБРЫВА СВЯЗИ !!!!!!!!!!!!!!!!!!!!!!!!!!!!!!!!!!!!!!!!!!!!!!!!!!!!!!!!!!!!!!!!!!!!!!!
		MB_counT35=0;
		MB_buffCount=0;
		if (provSvyazCount2>=1000) {errGPM=1;}
		//else {errGPM=0;}
		MB_BUFF[0]=0xff; MB_BUFF[1]=0xff;   //это стираем ID и COM навсякий, но это ОПАСНО!
	}

//********************** (Tx) ОТВЕЧАЕМ КОГДА ПАКЕТ МОЙ и Т35 **********************//
	if ( MB_MyPac_OK && (MB_counT35>=MB_dT35) ) {
		MB_counT35=0;
		MB_buffCount=0;
		MB_MyPac_OK=0;
		HAL_UART_Transmit_IT(&huart1,(uint8_t*)MB_BUFF, txPac);
		MB_BUFF[0]=0xff;
	}

//************** Подготовка данных пакета отправки китайскому ваттемтру **********//
	MB3_BUFF[0]=248; //id китайского ваттметра
	MB3_BUFF[1]=4;   //0x04 код функции чтения регистров
	MB3_BUFF[2]=0; MB3_BUFF[3]=0; //адрес 1 регистра
	MB3_BUFF[4]=0; MB3_BUFF[5]=10; //количество регистров
	MB3_BUFF[7]=0x64; MB3_BUFF[6]=0x64; //crc-16
//********************* Опрашиваем китайский ваттметр ********************//
	if (MB3_count_Tx>=MB3_Tim_Tx){
		MB3_count_Tx=0;
		HAL_UART_Receive_IT(&huart3, (uint8_t*)MB3_preBUFF, rx3Pac); //запуск следующего приёма
		HAL_UART_Transmit_IT(&huart3,(uint8_t*)MB3_BUFF, tx3Pac);
	}
//********************* Парсим что пришло от кит.ват. *********************//
	if ( (!MB3_MyPac_OK)&&(!Crc16(MB3_preBUFF, 25)) ){
		MB3_Prot_adr1reg = KITW_YSTW;	//адресс первого регистра с которого начнём запись в stm
		MB3_Prot_kolreg = (MB3_BUFF[4]<<8)|MB3_BUFF[5];	//кол регистров
		MB3_Prot_kolbyt = MB3_preBUFF[2];				//кол байт далее
		while(MB3_Prot_kolreg)   //сохраняем того что пришло в регистры stm
			{
			mb_data[--MB3_Prot_kolreg + MB3_Prot_adr1reg] = (MB3_preBUFF[2 + MB3_Prot_kolbyt--]) |
				(MB3_preBUFF[2 + MB3_Prot_kolbyt--]<<8);
			}
		// Переворачивание H<->L регистров... китайцы! хуле!
		MB3_Prot_adr1reg=mb_data[81];mb_data[81]=mb_data[82];mb_data[82]=MB3_Prot_adr1reg;
		MB3_Prot_adr1reg=mb_data[83];mb_data[83]=mb_data[84];mb_data[84]=MB3_Prot_adr1reg;
		MB3_Prot_adr1reg=mb_data[85];mb_data[85]=mb_data[86];mb_data[86]=MB3_Prot_adr1reg;
		MB3_MyPac_OK=1;
	}

	zadan_v0.byte1 = mb_data[ATR_ZADAN_V_H];
	zadan_v0.byte2 = mb_data[ATR_ZADAN_V_H]>>8;
	zadan_v0.byte3 = mb_data[ATR_ZADAN_V_L];
	zadan_v0.byte4 = mb_data[ATR_ZADAN_V_L]>>8;
	if (zadan_vZash != zadan_v0.zadan_v){
		zadan_vZash = zadan_v0.zadan_v;
		zadan_v001p = zadan_v0.zadan_v + (zadan_v0.zadan_v * 0.005);
		zadan_v001m = zadan_v0.zadan_v - (zadan_v0.zadan_v * 0.005);
		zadan_v005p = zadan_v0.zadan_v + (zadan_v0.zadan_v * 0.05);
		zadan_v005m = zadan_v0.zadan_v - (zadan_v0.zadan_v * 0.05);
	}

//***********************************************************************************
//************************ ОБРАБОТКА и СОХРАНЕНиЕ ДАННЫХ ПАКЕТА *********************
//***********************************************************************************
	if (!MB_MyPac_OK) {
		if ( (MB_BUFF[0]==0) || (MB_BUFF[0]==mb_data[0]) ) {

			provSvyazCount2=0;

//********************** Команда 16(0x10) ЗАП�?СЬ нескольких регистров ******************
			if ( (MB_BUFF[1]==0x10) && (MB_buffCount==7) ){   //проверка команды и вычисление длины пакета
			   MB_Prot_adr1reg = (MB_BUFF[2]<<8)|MB_BUFF[3]; //адресс первого регистра
			   MB_Prot_kolreg =  (MB_BUFF[4]<<8)|MB_BUFF[5]; //кол регистров
			   MB_Prot_kolbyt = MB_BUFF[6];				     //кол байт далее
			}
			if ( (MB_buffCount==MB_Prot_kolbyt+7+2) && (!Crc16(MB_BUFF, MB_Prot_kolbyt+7+2)) ) {
			   while(MB_Prot_kolreg)   //сохраняем положение регистров (реле)
			      {
			       mb_data[--MB_Prot_kolreg + MB_Prot_adr1reg] = (MB_BUFF[6 + MB_Prot_kolbyt--]) |
			    		   (MB_BUFF[6 + MB_Prot_kolbyt--]<<8);
			      }
			   crc16rez = Crc16(MB_BUFF, 6);                  //расчёт crc16 для ответа
			   MB_BUFF[6] = crc16rez;                         //в ответ: Lo crc16
			   MB_BUFF[7] = crc16rez>>8;                      //в ответ: Hi crc16
			   txPac = 8; //должен быть кол-во отправляемых байт -1
			   MB_MyPac_OK=1;
			}//end Команда 0x10

//********************** Команда 06(0x06) ЗАП�?СЬ 1 регистра ******************
			if ( (MB_BUFF[1]==0x06) && (MB_buffCount==8) && (!Crc16(MB_BUFF, 8)) ) {
			   MB_Prot_adr1reg = (MB_BUFF[2]<<8)|MB_BUFF[3];          //адресс первого регистра
			   mb_data[MB_Prot_adr1reg] = (MB_BUFF[4]<<8)|MB_BUFF[5]; //сохраняем положение регистров (реле)
			   txPac = 8; //должен быть кол-во отправляемых байт -1
			   MB_MyPac_OK=1;
			}//end Команда 0x06
		//}
		//if ( (MB_BUFF[0]==0) || (MB_BUFF[0]==mb_data[0]) || (MB_BUFF[0]==30) ) {
//********************** Команда 03 (0x03) ЧТЕНиЕ нескольких регистров ******************
			if ( (MB_BUFF[1]==0x03) && (MB_buffCount==8) && (!Crc16(MB_BUFF, 8)) ){   //проверка команды и вычисление длины пакета
		   		MB_Prot_adr1reg = (MB_BUFF[2]<<8)|MB_BUFF[3]; //адресс первого регистра
		   		MB_Prot_kolreg =  ( (MB_BUFF[4]<<8)|MB_BUFF[5] ); //кол регистров
		   		//далее формирование отвера (запрошеных регистров)
		   		MB_Prot_kolbyt = MB_Prot_kolreg*2;  //количество байт далее
		   		MB_BUFF[2] = MB_Prot_kolbyt;
		   		while(MB_Prot_kolbyt)   //сохраняем положение регистров (реле)
		   			{
		   			MB_BUFF[--MB_Prot_kolbyt+3] = mb_data[MB_Prot_kolreg + MB_Prot_adr1reg-1];
		   			MB_BUFF[--MB_Prot_kolbyt+3] = (mb_data[MB_Prot_kolreg-- + MB_Prot_adr1reg-1])>>8;
		   			}
		   		crc16rez = Crc16(MB_BUFF, 3+MB_BUFF[2]);                  //расчёт crc16 для ответа
		   		MB_BUFF[3+MB_BUFF[2]] = crc16rez;                         //в ответ: Lo crc16
		   		MB_BUFF[4+MB_BUFF[2]] = crc16rez>>8;                      //в ответ: Hi crc16
		   		txPac = 5+MB_BUFF[2]; //должен быть кол-во отправляемых байт -1
		   		MB_MyPac_OK=1;
			}//end Команда 0x03

//********************** Команда 04 (0x04) ЧТЕНиЕ нескольких регистров ******************
			if ( (MB_BUFF[1]==0x04) && (MB_buffCount==8) && (!Crc16(MB_BUFF, 8)) ){   //проверка команды и вычисление длины пакета
		   		MB_Prot_adr1reg = (MB_BUFF[2]<<8)|MB_BUFF[3]; //адресс первого регистра
		   		MB_Prot_kolreg =  ( (MB_BUFF[4]<<8)|MB_BUFF[5] ); //кол регистров
		   		//далее формирование отвера (запрошеных регистров)
		   		MB_Prot_kolbyt = MB_Prot_kolreg*2;  //количество байт далее
		   		MB_BUFF[2] = MB_Prot_kolbyt;
		   		while(MB_Prot_kolbyt)   //сохраняем положение регистров (реле)
		   			{
					MB_BUFF[--MB_Prot_kolbyt+3] = mb_data[MB_Prot_kolreg + MB_Prot_adr1reg-1];
		   			MB_BUFF[--MB_Prot_kolbyt+3] = (mb_data[MB_Prot_kolreg-- + MB_Prot_adr1reg-1])>>8;
		   			}
		   		crc16rez = Crc16(MB_BUFF, 3+MB_BUFF[2]);                  //расчёт crc16 для ответа
		   		MB_BUFF[3+MB_BUFF[2]] = crc16rez;                         //в ответ: Lo crc16
		   		MB_BUFF[4+MB_BUFF[2]] = crc16rez>>8;                      //в ответ: Hi crc16
		   		txPac = 5+MB_BUFF[2]; //должен быть кол-во отправляемых байт -1
		   		MB_MyPac_OK=1;
			}//end Команда 0x04
		}//end MB_BUFF[0] (My ID)
//********************** Команда 04 (0x04) ЧТЕНиЕ нескольких регистров ID=30 ******************
		if (MB_BUFF[0]==30) {
			//mb_data[OUT_IST] |= (1<<5);
			if ( (MB_BUFF[1]==0x03) && (MB_buffCount==9) && (!Crc16(MB_BUFF, 9)) ) {
				//mb_data[OUT_IST] |= (1<<4);
				mb_data[GPM_V_L] = ( (MB_BUFF[3]<<8)|(MB_BUFF[4]) ); //GPM_V_H    123  // Напряжение с GPM-78213 (H)
				mb_data[GPM_V_H] = ( (MB_BUFF[5]<<8)|(MB_BUFF[6]) );
				tekysheeNapr.byte1 = mb_data[GPM_V_H];
				tekysheeNapr.byte2 = mb_data[GPM_V_H]>>8;
				tekysheeNapr.byte3 = mb_data[GPM_V_L];
				tekysheeNapr.byte4 = mb_data[GPM_V_L]>>8;
				// Проверка изменения напряжения
				if (tekysheeNapr.tekysheeU==provSvyaz) {provSvyazCount++;}//provSvyazCount
				else {provSvyazCount=0; errGPM=0;}
				if (provSvyazCount>=1000) {errGPM=1;}
				provSvyaz = tekysheeNapr.tekysheeU;
				//errGPM=0;
			}
			//else {errGPM=1;}
		}//end Команда 0x04 ID=30
		//else {errGPM=1;}
	} //end MB_MyPac_OK

    /* USER CODE END WHILE */

  }
}

void SystemClock_Config(void)
{
  RCC_OscInitTypeDef RCC_OscInitStruct = {0};
  RCC_ClkInitTypeDef RCC_ClkInitStruct = {0};
  RCC_PeriphCLKInitTypeDef PeriphClkInit = {0};

  /** Initializes the RCC Oscillators according to the specified parameters
  * in the RCC_OscInitTypeDef structure.
  */
  RCC_OscInitStruct.OscillatorType = RCC_OSCILLATORTYPE_HSI|RCC_OSCILLATORTYPE_HSE;
  RCC_OscInitStruct.HSEState = RCC_HSE_ON;
  RCC_OscInitStruct.HSIState = RCC_HSI_ON;
  RCC_OscInitStruct.HSICalibrationValue = RCC_HSICALIBRATION_DEFAULT;
  RCC_OscInitStruct.PLL.PLLState = RCC_PLL_ON;
  RCC_OscInitStruct.PLL.PLLSource = RCC_PLLSOURCE_HSE;
  RCC_OscInitStruct.PLL.PLLMUL = RCC_PLL_MUL9;
  RCC_OscInitStruct.PLL.PREDIV = RCC_PREDIV_DIV1;
  if (HAL_RCC_OscConfig(&RCC_OscInitStruct) != HAL_OK)
  {
    Error_Handler();
  }
  /** Initializes the CPU, AHB and APB buses clocks
  */
  RCC_ClkInitStruct.ClockType = RCC_CLOCKTYPE_HCLK|RCC_CLOCKTYPE_SYSCLK
                              |RCC_CLOCKTYPE_PCLK1|RCC_CLOCKTYPE_PCLK2;
  RCC_ClkInitStruct.SYSCLKSource = RCC_SYSCLKSOURCE_PLLCLK;
  RCC_ClkInitStruct.AHBCLKDivider = RCC_SYSCLK_DIV1;
  RCC_ClkInitStruct.APB1CLKDivider = RCC_HCLK_DIV2;
  RCC_ClkInitStruct.APB2CLKDivider = RCC_HCLK_DIV1;

  if (HAL_RCC_ClockConfig(&RCC_ClkInitStruct, FLASH_LATENCY_2) != HAL_OK)
  {
    Error_Handler();
  }
  PeriphClkInit.PeriphClockSelection = RCC_PERIPHCLK_USART1|RCC_PERIPHCLK_USART3
                              |RCC_PERIPHCLK_I2C1|RCC_PERIPHCLK_TIM1
                              |RCC_PERIPHCLK_TIM2|RCC_PERIPHCLK_TIM34;
  PeriphClkInit.Usart1ClockSelection = RCC_USART1CLKSOURCE_PCLK2;
  PeriphClkInit.Usart3ClockSelection = RCC_USART3CLKSOURCE_PCLK1;
  PeriphClkInit.I2c1ClockSelection = RCC_I2C1CLKSOURCE_HSI;
  PeriphClkInit.Tim1ClockSelection = RCC_TIM1CLK_HCLK;
  PeriphClkInit.Tim2ClockSelection = RCC_TIM2CLK_HCLK;
  PeriphClkInit.Tim34ClockSelection = RCC_TIM34CLK_HCLK;
  if (HAL_RCCEx_PeriphCLKConfig(&PeriphClkInit) != HAL_OK)
  {
    Error_Handler();
  }
}

static void MX_I2C1_Init(void)
{

  hi2c1.Instance = I2C1;
  hi2c1.Init.Timing = 0x2000090E;
  hi2c1.Init.OwnAddress1 = 0;
  hi2c1.Init.AddressingMode = I2C_ADDRESSINGMODE_7BIT;
  hi2c1.Init.DualAddressMode = I2C_DUALADDRESS_DISABLE;
  hi2c1.Init.OwnAddress2 = 0;
  hi2c1.Init.OwnAddress2Masks = I2C_OA2_NOMASK;
  hi2c1.Init.GeneralCallMode = I2C_GENERALCALL_DISABLE;
  hi2c1.Init.NoStretchMode = I2C_NOSTRETCH_DISABLE;
  if (HAL_I2C_Init(&hi2c1) != HAL_OK)
  {
    Error_Handler();
  }
  /** Configure Analogue filter
  */
  if (HAL_I2CEx_ConfigAnalogFilter(&hi2c1, I2C_ANALOGFILTER_ENABLE) != HAL_OK)
  {
    Error_Handler();
  }
  /** Configure Digital filter
  */
  if (HAL_I2CEx_ConfigDigitalFilter(&hi2c1, 0) != HAL_OK)
  {
    Error_Handler();
  }

}

static void MX_TIM1_Init(void)
{

  TIM_ClockConfigTypeDef sClockSourceConfig = {0};
  TIM_MasterConfigTypeDef sMasterConfig = {0};

  htim1.Instance = TIM1;
  htim1.Init.Prescaler = 99;
  htim1.Init.CounterMode = TIM_COUNTERMODE_UP;
  htim1.Init.Period = 53;
  htim1.Init.ClockDivision = TIM_CLOCKDIVISION_DIV1;
  htim1.Init.RepetitionCounter = 0;
  htim1.Init.AutoReloadPreload = TIM_AUTORELOAD_PRELOAD_DISABLE;
  if (HAL_TIM_Base_Init(&htim1) != HAL_OK)
  {
    Error_Handler();
  }
  sClockSourceConfig.ClockSource = TIM_CLOCKSOURCE_INTERNAL;
  if (HAL_TIM_ConfigClockSource(&htim1, &sClockSourceConfig) != HAL_OK)
  {
    Error_Handler();
  }
  sMasterConfig.MasterOutputTrigger = TIM_TRGO_RESET;
  sMasterConfig.MasterOutputTrigger2 = TIM_TRGO2_RESET;
  sMasterConfig.MasterSlaveMode = TIM_MASTERSLAVEMODE_DISABLE;
  if (HAL_TIMEx_MasterConfigSynchronization(&htim1, &sMasterConfig) != HAL_OK)
  {
    Error_Handler();
  }

}

static void MX_TIM2_Init(void)
{

  TIM_ClockConfigTypeDef sClockSourceConfig = {0};
  TIM_MasterConfigTypeDef sMasterConfig = {0};
  TIM_OC_InitTypeDef sConfigOC = {0};

  /* USER CODE BEGIN TIM2_Init 1 */
  //htim2.Instance->ARR = 1699;
  /* USER CODE END TIM2_Init 1 */
  htim2.Instance = TIM2;
  htim2.Init.Prescaler = 719;
  htim2.Init.CounterMode = TIM_COUNTERMODE_UP;
  htim2.Init.Period = 169;
  htim2.Init.ClockDivision = TIM_CLOCKDIVISION_DIV1;
  htim2.Init.AutoReloadPreload = TIM_AUTORELOAD_PRELOAD_ENABLE;
  if (HAL_TIM_Base_Init(&htim2) != HAL_OK)
  {
    Error_Handler();
  }
  sClockSourceConfig.ClockSource = TIM_CLOCKSOURCE_INTERNAL;
  if (HAL_TIM_ConfigClockSource(&htim2, &sClockSourceConfig) != HAL_OK)
  {
    Error_Handler();
  }
  if (HAL_TIM_PWM_Init(&htim2) != HAL_OK)
  {
    Error_Handler();
  }
  sMasterConfig.MasterOutputTrigger = TIM_TRGO_RESET;
  sMasterConfig.MasterSlaveMode = TIM_MASTERSLAVEMODE_DISABLE;
  if (HAL_TIMEx_MasterConfigSynchronization(&htim2, &sMasterConfig) != HAL_OK)
  {
    Error_Handler();
  }
  sConfigOC.OCMode = TIM_OCMODE_PWM1;
  sConfigOC.Pulse = 79;
  sConfigOC.OCPolarity = TIM_OCPOLARITY_LOW;
  sConfigOC.OCFastMode = TIM_OCFAST_DISABLE;
  if (HAL_TIM_PWM_ConfigChannel(&htim2, &sConfigOC, TIM_CHANNEL_2) != HAL_OK)
  {
    Error_Handler();
  }
  HAL_TIM_MspPostInit(&htim2);

}

static void MX_TIM3_Init(void)
{

  TIM_ClockConfigTypeDef sClockSourceConfig = {0};
  TIM_MasterConfigTypeDef sMasterConfig = {0};

  htim3.Instance = TIM3;
  htim3.Init.Prescaler = 719;
  htim3.Init.CounterMode = TIM_COUNTERMODE_UP;
  htim3.Init.Period = 999;
  htim3.Init.ClockDivision = TIM_CLOCKDIVISION_DIV1;
  htim3.Init.AutoReloadPreload = TIM_AUTORELOAD_PRELOAD_DISABLE;
  if (HAL_TIM_Base_Init(&htim3) != HAL_OK)
  {
    Error_Handler();
  }
  sClockSourceConfig.ClockSource = TIM_CLOCKSOURCE_INTERNAL;
  if (HAL_TIM_ConfigClockSource(&htim3, &sClockSourceConfig) != HAL_OK)
  {
    Error_Handler();
  }
  sMasterConfig.MasterOutputTrigger = TIM_TRGO_RESET;
  sMasterConfig.MasterSlaveMode = TIM_MASTERSLAVEMODE_DISABLE;
  if (HAL_TIMEx_MasterConfigSynchronization(&htim3, &sMasterConfig) != HAL_OK)
  {
    Error_Handler();
  }

}

static void MX_USART1_UART_Init(void)
{

  huart1.Instance = USART1;
  huart1.Init.BaudRate = 115200;
  huart1.Init.WordLength = UART_WORDLENGTH_8B;
  huart1.Init.StopBits = UART_STOPBITS_1;
  huart1.Init.Parity = UART_PARITY_NONE;
  huart1.Init.Mode = UART_MODE_TX_RX;
  huart1.Init.HwFlowCtl = UART_HWCONTROL_NONE;
  huart1.Init.OverSampling = UART_OVERSAMPLING_16;
  huart1.Init.OneBitSampling = UART_ONE_BIT_SAMPLE_DISABLE;
  huart1.AdvancedInit.AdvFeatureInit = UART_ADVFEATURE_NO_INIT;
  if (HAL_RS485Ex_Init(&huart1, UART_DE_POLARITY_HIGH, 0, 0) != HAL_OK)
  {
    Error_Handler();
  }

}

static void MX_USART3_UART_Init(void)
{

  huart3.Instance = USART3;
  huart3.Init.BaudRate = 9600;
  huart3.Init.WordLength = UART_WORDLENGTH_8B;
  huart3.Init.StopBits = UART_STOPBITS_1;
  huart3.Init.Parity = UART_PARITY_NONE;
  huart3.Init.Mode = UART_MODE_TX_RX;
  huart3.Init.HwFlowCtl = UART_HWCONTROL_NONE;
  huart3.Init.OverSampling = UART_OVERSAMPLING_16;
  huart3.Init.OneBitSampling = UART_ONE_BIT_SAMPLE_DISABLE;
  huart3.AdvancedInit.AdvFeatureInit = UART_ADVFEATURE_NO_INIT;
  if (HAL_RS485Ex_Init(&huart3, UART_DE_POLARITY_HIGH, 0, 0) != HAL_OK)
  {
    Error_Handler();
  }

}

static void MX_GPIO_Init(void)
{
  GPIO_InitTypeDef GPIO_InitStruct = {0};

  /* GPIO Ports Clock Enable */
  __HAL_RCC_GPIOC_CLK_ENABLE();
  __HAL_RCC_GPIOF_CLK_ENABLE();
  __HAL_RCC_GPIOA_CLK_ENABLE();
  __HAL_RCC_GPIOB_CLK_ENABLE();
  __HAL_RCC_GPIOD_CLK_ENABLE();

  /*Configure GPIO pin Output Level */
  HAL_GPIO_WritePin(StepD3_GPIO_Port, StepD3_Pin, GPIO_PIN_RESET);

  /*Configure GPIO pin Output Level */
  HAL_GPIO_WritePin(StepD2_GPIO_Port, StepD2_Pin, GPIO_PIN_RESET);

  /*Configure GPIO pin Output Level */
  HAL_GPIO_WritePin(GPIOB, OutRezerv1_Pin|PinLEDdebug_Pin, GPIO_PIN_RESET);

  /*Configure GPIO pins : MBadr6_Pin MBadr4_Pin MBadr3_Pin MBadr2_Pin
                           MBadr1_Pin */
  GPIO_InitStruct.Pin = MBadr6_Pin|MBadr4_Pin|MBadr3_Pin|MBadr2_Pin
                          |MBadr1_Pin;
  GPIO_InitStruct.Mode = GPIO_MODE_INPUT;
  GPIO_InitStruct.Pull = GPIO_PULLUP;
  HAL_GPIO_Init(GPIOC, &GPIO_InitStruct);

  /*Configure GPIO pin : MBadr7_Pin */
  GPIO_InitStruct.Pin = MBadr7_Pin;
  GPIO_InitStruct.Mode = GPIO_MODE_INPUT;
  GPIO_InitStruct.Pull = GPIO_PULLUP;
  HAL_GPIO_Init(MBadr7_GPIO_Port, &GPIO_InitStruct);

  /*Configure GPIO pin : InKnB_Pin */
  GPIO_InitStruct.Pin = InKnB_Pin;
  GPIO_InitStruct.Mode = GPIO_MODE_INPUT;
  GPIO_InitStruct.Pull = GPIO_NOPULL;
  HAL_GPIO_Init(InKnB_GPIO_Port, &GPIO_InitStruct);

  /*Configure GPIO pins : InKnM_Pin InLatrMax_Pin InLatrMin_Pin InRezerv2_Pin */
  GPIO_InitStruct.Pin = InKnM_Pin|InLatrMax_Pin|InLatrMin_Pin|InRezerv2_Pin;
  GPIO_InitStruct.Mode = GPIO_MODE_INPUT;
  GPIO_InitStruct.Pull = GPIO_NOPULL;
  HAL_GPIO_Init(GPIOC, &GPIO_InitStruct);

  /*Configure GPIO pins : InAuto2_Pin InAuto1_Pin */
  GPIO_InitStruct.Pin = InAuto2_Pin|InAuto1_Pin;
  GPIO_InitStruct.Mode = GPIO_MODE_INPUT;
  GPIO_InitStruct.Pull = GPIO_NOPULL;
  HAL_GPIO_Init(GPIOA, &GPIO_InitStruct);

  /*Configure GPIO pin : StepD3_Pin */
  GPIO_InitStruct.Pin = StepD3_Pin;
  GPIO_InitStruct.Mode = GPIO_MODE_OUTPUT_PP;
  GPIO_InitStruct.Pull = GPIO_NOPULL;
  GPIO_InitStruct.Speed = GPIO_SPEED_FREQ_LOW;
  HAL_GPIO_Init(StepD3_GPIO_Port, &GPIO_InitStruct);

  /*Configure GPIO pin : StepD2_Pin */
  GPIO_InitStruct.Pin = StepD2_Pin;
  GPIO_InitStruct.Mode = GPIO_MODE_OUTPUT_PP;
  GPIO_InitStruct.Pull = GPIO_NOPULL;
  GPIO_InitStruct.Speed = GPIO_SPEED_FREQ_LOW;
  HAL_GPIO_Init(StepD2_GPIO_Port, &GPIO_InitStruct);

  /*Configure GPIO pins : OutRezerv1_Pin PinLEDdebug_Pin */
  GPIO_InitStruct.Pin = OutRezerv1_Pin|PinLEDdebug_Pin;
  GPIO_InitStruct.Mode = GPIO_MODE_OUTPUT_PP;
  GPIO_InitStruct.Pull = GPIO_NOPULL;
  GPIO_InitStruct.Speed = GPIO_SPEED_FREQ_LOW;
  HAL_GPIO_Init(GPIOB, &GPIO_InitStruct);

  /*Configure GPIO pins : MBadr5_Pin MBadr0_Pin */
  GPIO_InitStruct.Pin = MBadr5_Pin|MBadr0_Pin;
  GPIO_InitStruct.Mode = GPIO_MODE_INPUT;
  GPIO_InitStruct.Pull = GPIO_PULLUP;
  HAL_GPIO_Init(GPIOB, &GPIO_InitStruct);

}

void Error_Handler(void)
{
  __disable_irq();
  while (1)
  {
  }
}
